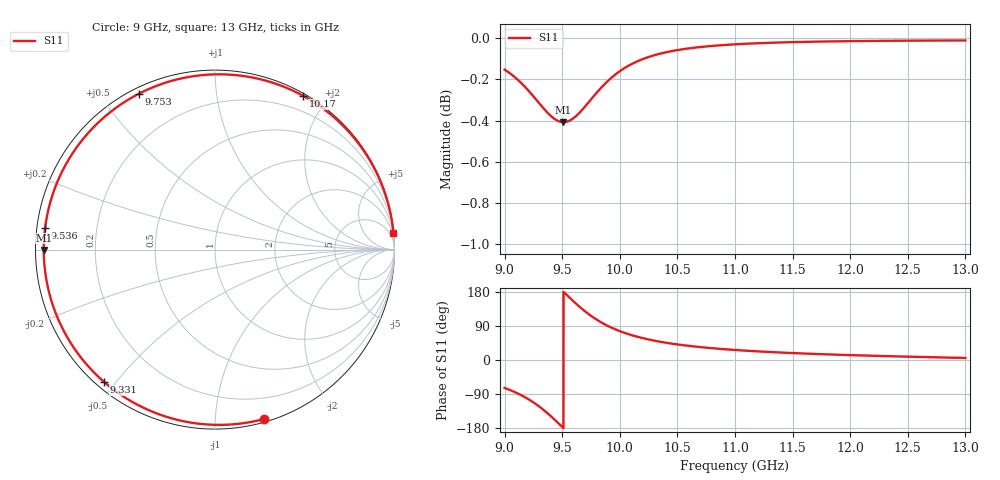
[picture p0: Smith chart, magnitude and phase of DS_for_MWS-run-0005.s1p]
! TOUCHSTONE file generated by CST DESIGN STUDIO
! Date and time: Tue Feb  4 18:26:25 2025
! Project name: C:\Work\MatlabApps\UnitCellOptimizationMatlab\CST\unitcell.cst
! Tree item: Tasks\Sweep1\SPara1\S-Parameters
! Header version: 2024
! Port assignment regex: !\s*Touchstone port\s*([0-9]+)\s*=\s*(CST MWS port|CST DES external port|CST DES block port)\s*(.+)\s* \(\"(.*)\"\)(\s*mode\s*([0-9]+))?.*
! Touchstone port assignment:
! Touchstone port 1 = CST DES external port 1 ("")
# GHz S MA R 50
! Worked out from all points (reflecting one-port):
!   4001 points, 9 GHz to 13 GHz, reference 50 ohm
!   lowest |S11| = -0.4 dB at 9.511 GHz (marker M1), VSWR 42.59, Z = 1.17 - j0.0546 ohm
!   phase of S11 starts at -74 deg and turns -281 deg over the sweep
!   S11 on the Smith chart (normalised r, x): 9 GHz: 0.02, -1.33; 9.331 GHz: 0.02, -0.47; 9.536 GHz: 0.02, +0.06; 9.753 GHz: 0.02, +0.63; 10.17 GHz: 0.02, +1.72; 13 GHz: 0, +21
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9  0.9826 -73.8
9.089  0.9784 -84.7
9.192  0.9721 -100.8
9.265  0.9669 -115.0
9.331  0.962 -130.0
9.377  0.9589 -141.7
9.424  0.9563 -154.6
9.463  0.9548 -165.7
9.5  0.9542 -176.6
9.511  0.9541 -179.9
9.536  0.9543 172.7
9.59  0.9559 157.0
9.65  0.9591 140.6
9.701  0.9627 127.7
9.753  0.9666 115.9
9.804  0.9703 105.6
9.86  0.9741 95.6
10  0.9817 76.1
10.08  0.9849 67.7
10.166  0.9875 60.2
10.318  0.9909 50.0
10.5  0.9934 41.1
10.722  0.9952 33.3
11  0.9966 26.4
11.5  0.9978 18.3
12  0.9984 12.9
12.5  0.9986 8.8
13  0.9987 5.4
